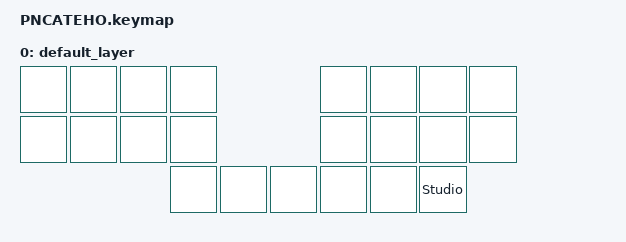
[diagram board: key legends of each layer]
/*
 * Copyright (c) 2020 The ZMK Contributors
 *
 * SPDX-License-Identifier: MIT
 */

#include <behaviors.dtsi>
#include <dt-bindings/zmk/bt.h>
#include <dt-bindings/zmk/keys.h>
#include <dt-bindings/zmk/outputs.h>
#include <dt-bindings/zmk/ext_power.h>

// CONFIG
#define COMBO_TIMEOUT 70
#define COMBO_LAYERS 0
#define STICKY_TIMEOUT 500

// LEFT SIDE
#define TLP 0 // TOP
#define TLR 1 // TOP
#define TLM 2 // TOP
#define TLI 3 // TOP
#define BLP 8 // BOTTOM
#define BLR 9 // BOTTOM
#define BLM 10 // BOTTOM
#define BLI 11 // BOTTOM
#define LOT 16 // O-THUMB
#define LIT 17 // I-THUMB

// RIGHT SIDE
#define TRP 4 // TOP
#define TRR 5 // TOP
#define TRM 6 // TOP
#define TRI 7 // TOP
#define BRP 12 // BOTTOM
#define BRR 13 // BOTTOM
#define BRM 14 // BOTTOM
#define BRI 15 // BOTTOM
#define ROT 18 // O-THUMB
#define RIT 19 // I-THUMB

&sk {
    release-after-ms = <STICKY_TIMEOUT>;
    quick-release;
};

/ {
  combos {
    compatible = "zmk,combos";
    #include "chords.dtsi"
  };

  keymap {
    compatible = "zmk,keymap";

    default_layer {
      bindings = <
        &none &none &none &none               &none &none &none &none     
        &none &none &none &none               &none &none &none &none     
                          &none &none   &none &none &none &studio_unlock    
      >;
    };
  };
};

